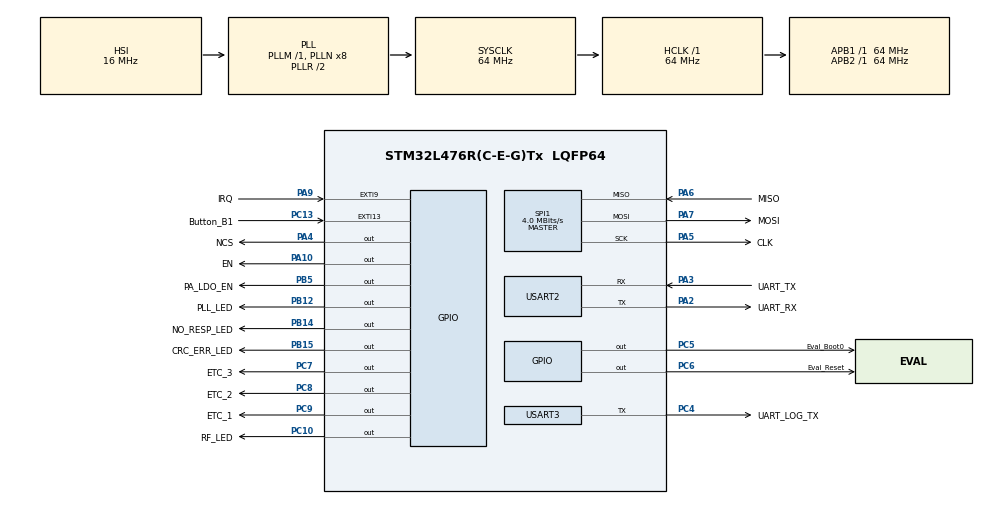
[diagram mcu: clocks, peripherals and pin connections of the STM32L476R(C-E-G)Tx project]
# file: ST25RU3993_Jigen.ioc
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Dma.Request0=USART3_TX
Dma.Request1=USART2_TX
Dma.Request2=USART2_RX
Dma.USART2_RX.2.Direction=DMA_PERIPH_TO_MEMORY
Dma.USART2_RX.2.Instance=DMA1_Channel6
Dma.USART2_RX.2.MemDataAlignment=DMA_MDATAALIGN_BYTE
Dma.USART2_RX.2.MemInc=DMA_MINC_ENABLE
Dma.USART2_RX.2.Mode=DMA_NORMAL
Dma.USART2_RX.2.PeriphDataAlignment=DMA_PDATAALIGN_BYTE
Dma.USART2_RX.2.PeriphInc=DMA_PINC_DISABLE
Dma.USART2_RX.2.Priority=DMA_PRIORITY_MEDIUM
Dma.USART2_TX.1.Direction=DMA_MEMORY_TO_PERIPH
Dma.USART2_TX.1.Instance=DMA1_Channel7
Dma.USART2_TX.1.MemDataAlignment=DMA_MDATAALIGN_BYTE
Dma.USART2_TX.1.MemInc=DMA_MINC_ENABLE
Dma.USART2_TX.1.Mode=DMA_NORMAL
Dma.USART2_TX.1.PeriphDataAlignment=DMA_PDATAALIGN_BYTE
Dma.USART2_TX.1.PeriphInc=DMA_PINC_DISABLE
Dma.USART2_TX.1.Priority=DMA_PRIORITY_MEDIUM
Dma.USART3_TX.0.Direction=DMA_MEMORY_TO_PERIPH
Dma.USART3_TX.0.Instance=DMA1_Channel2
Dma.USART3_TX.0.MemDataAlignment=DMA_MDATAALIGN_BYTE
Dma.USART3_TX.0.MemInc=DMA_MINC_ENABLE
Dma.USART3_TX.0.Mode=DMA_NORMAL
Dma.USART3_TX.0.PeriphDataAlignment=DMA_PDATAALIGN_BYTE
Dma.USART3_TX.0.PeriphInc=DMA_PINC_DISABLE
Dma.USART3_TX.0.Priority=DMA_PRIORITY_LOW
Mcu.Family=STM32L4
Mcu.Name=STM32L476R(C-E-G)Tx
Mcu.Package=LQFP64
NVIC.DMA1_Channel2_IRQn=true\:0\:0\:false\:false\:true\:true
NVIC.DMA1_Channel6_IRQn=true\:0\:0\:false\:false\:true\:true
NVIC.DMA1_Channel7_IRQn=true\:0\:0\:false\:false\:true\:true
NVIC.EXTI9_5_IRQn=true\:15\:0\:true\:false\:true\:true
NVIC.PriorityGroup=NVIC_PRIORITYGROUP_4
NVIC.RTC_Alarm_IRQn=true\:0\:0\:false\:false\:true\:true
NVIC.TIM4_IRQn=true\:0\:0\:false\:false\:true\:true
NVIC.TIM5_IRQn=true\:0\:0\:false\:false\:true\:true
NVIC.USART2_IRQn=true\:2\:0\:true\:false\:true\:true
NVIC.USART3_IRQn=true\:0\:0\:false\:false\:true\:true
PA10.GPIO_Label=EN
PA10.GPIO_Speed=GPIO_SPEED_FREQ_VERY_HIGH
PA10.Signal=GPIO_Output
PA13\ (JTMS-SWDIO).GPIO_Label=SWDIO
PA13\ (JTMS-SWDIO).Mode=Serial_Wire
PA13\ (JTMS-SWDIO).Signal=SYS_JTMS-SWDIO
PA14\ (JTCK-SWCLK).GPIO_Label=SWCLK
PA14\ (JTCK-SWCLK).Mode=Serial_Wire
PA14\ (JTCK-SWCLK).Signal=SYS_JTCK-SWCLK
PA15\ (JTDI).Signal=SYS_JTDI
PA2.GPIO_Label=UART_RX
PA2.Mode=Asynchronous
PA2.Signal=USART2_TX
PA3.GPIO_Label=UART_TX
PA3.Mode=Asynchronous
PA3.Signal=USART2_RX
PA4.GPIO_Label=NCS
PA4.GPIO_ModeDefaultOutputPP=GPIO_MODE_OUTPUT_PP
PA4.GPIO_Speed=GPIO_SPEED_FREQ_VERY_HIGH
PA4.PinState=GPIO_PIN_SET
PA4.Signal=GPIO_Output
PA5.GPIO_Label=CLK
PA5.Mode=Full_Duplex_Master
PA5.Signal=SPI1_SCK
PA6.GPIO_Label=MISO
PA6.Mode=Full_Duplex_Master
PA6.Signal=SPI1_MISO
PA7.GPIO_Label=MOSI
PA7.Mode=Full_Duplex_Master
PA7.Signal=SPI1_MOSI
PA9.GPIO_Label=IRQ
PA9.Signal=GPXTI9
PB12.GPIO_Label=PLL_LED
PB12.GPIO_ModeDefaultOutputPP=GPIO_MODE_OUTPUT_PP
PB12.GPIO_PuPd=GPIO_NOPULL
PB12.GPIO_Speed=GPIO_SPEED_FREQ_LOW
PB12.PinState=GPIO_PIN_SET
PB12.Signal=GPIO_Output
PB14.GPIO_Label=NO_RESP_LED
PB14.GPIO_ModeDefaultOutputPP=GPIO_MODE_OUTPUT_PP
PB14.GPIO_PuPd=GPIO_NOPULL
PB14.GPIO_Speed=GPIO_SPEED_FREQ_LOW
PB14.PinState=GPIO_PIN_SET
PB14.Signal=GPIO_Output
PB15.GPIO_Label=CRC_ERR_LED
PB15.GPIO_ModeDefaultOutputPP=GPIO_MODE_OUTPUT_PP
PB15.GPIO_PuPd=GPIO_NOPULL
PB15.GPIO_Speed=GPIO_SPEED_FREQ_LOW
PB15.PinState=GPIO_PIN_SET
PB15.Signal=GPIO_Output
PB3\ (JTDO-TRACESWO).Signal=SYS_JTDO-SWO
PB5.GPIO_Label=PA_LDO_EN
PB5.GPIO_Speed=GPIO_SPEED_FREQ_VERY_HIGH
PB5.Signal=GPIO_Output
PC10.GPIO_Label=RF_LED
PC10.GPIO_ModeDefaultOutputPP=GPIO_MODE_OUTPUT_PP
PC10.GPIO_PuPd=GPIO_NOPULL
PC10.GPIO_Speed=GPIO_SPEED_FREQ_LOW
PC10.PinState=GPIO_PIN_SET
PC10.Signal=GPIO_Output
PC13.GPIO_Label=Button_B1
PC13.Signal=GPXTI13
PC14-OSC32_IN\ (PC14).GPIO_Label=OSC32_IN
PC14-OSC32_IN\ (PC14).Mode=LSE-External-Oscillator
PC14-OSC32_IN\ (PC14).Signal=RCC_OSC32_IN
PC15-OSC32_OUT\ (PC15).GPIO_Label=OSC32_OUT
PC15-OSC32_OUT\ (PC15).Mode=LSE-External-Oscillator
PC15-OSC32_OUT\ (PC15).Signal=RCC_OSC32_OUT
PC4.GPIO_Label=UART_LOG_TX
PC4.Mode=Half_duplex(single_wire_mode)
PC4.Signal=USART3_TX
PC5.GPIO_Label=Eval_Boot0
PC5.Signal=GPIO_Output
PC6.GPIO_Label=Eval_Reset
PC6.PinState=GPIO_PIN_SET
PC6.Signal=GPIO_Output
PC7.GPIO_Label=ETC_3
PC7.GPIO_Speed=GPIO_SPEED_FREQ_VERY_HIGH
PC7.Signal=GPIO_Output
PC8.GPIO_Label=ETC_2
PC8.GPIO_Speed=GPIO_SPEED_FREQ_VERY_HIGH
PC8.Signal=GPIO_Output
PC9.GPIO_Label=ETC_1
PC9.GPIO_Speed=GPIO_SPEED_FREQ_VERY_HIGH
PC9.Signal=GPIO_Output
ProjectManager.HeapSize=0x600
ProjectManager.StackSize=0x600
ProjectManager.TargetToolchain=MDK-ARM V5
RCC.ADCFreq_Value=64000000
RCC.AHBFreq_Value=64000000
RCC.APB1Freq_Value=64000000
RCC.APB1TimFreq_Value=64000000
RCC.APB2Freq_Value=64000000
RCC.APB2TimFreq_Value=64000000
RCC.CortexFreq_Value=64000000
RCC.HCLKFreq_Value=64000000
RCC.HSE_VALUE=8000000
RCC.HSI_VALUE=16000000
RCC.MSI_VALUE=4000000
RCC.PLLSourceVirtual=RCC_PLLSOURCE_HSI
RCC.PREFETCH_ENABLE=1
RCC.RTCClockSelection=RCC_RTCCLKSOURCE_LSE
RCC.SYSCLKFreq_VALUE=64000000
RCC.SYSCLKSource=RCC_SYSCLKSOURCE_PLLCLK
RCC.USBFreq_Value=64000000
RCC.VCOOutputFreq_Value=128000000
RTC.Alarm-Alarm\ A=RTC_ALARM_A
RTC.AlarmMaskDateWeekDay-Alarm\ A=RTC_ALARMMASK_DATEWEEKDAY
RTC.AlarmMaskHours-Alarm\ A=RTC_ALARMMASK_HOURS
RTC.AlarmMaskMinutes-Alarm\ A=RTC_ALARMMASK_MINUTES
RTC.AlarmMaskSeconds-Alarm\ A=RTC_ALARMMASK_SECONDS
RTC.AsynchPrediv=0
RTC.Seconds_A-Alarm\ A=1
RTC.SynchPrediv=326
SPI1.BaudRatePrescaler=SPI_BAUDRATEPRESCALER_16
SPI1.CLKPhase=SPI_PHASE_2EDGE
SPI1.CLKPolarity=SPI_POLARITY_LOW
SPI1.CalculateBaudRate=4.0 MBits/s
SPI1.DataSize=SPI_DATASIZE_8BIT
SPI1.Direction=SPI_DIRECTION_2LINES
SPI1.Mode=SPI_MODE_MASTER
SPI1.VirtualType=VM_MASTER
TIM16.Period=50-1
TIM16.Prescaler=64000-1
TIM4.Period=300-1
TIM4.Prescaler=64000-1
TIM5.Period=13-1
TIM5.Prescaler=64-1
USART2.SwapParam=ADVFEATURE_SWAP_DISABLE
USART2.VirtualMode-Asynchronous=VM_ASYNC
USART2.WordLength=WORDLENGTH_8B
USART3.Mode=MODE_TX
USART3.VirtualMode-Half_duplex(single_wire_mode)=VM_ASYNC
USART3.WordLength=WORDLENGTH_8B
VP_RTC_VS_RTC_Activate.Mode=RTC_Enabled
VP_RTC_VS_RTC_Alarm_A_Intern.Mode=Alarm A
VP_RTC_VS_RTC_Calendar.Mode=RTC_Calendar
VP_TIM16_VS_ClockSourceINT.Mode=Enable_Timer
VP_TIM4_VS_ClockSourceINT.Mode=Internal
VP_TIM5_VS_ClockSourceINT.Mode=Internal
board=ST25RU3993_Jigen

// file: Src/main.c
/**
  ******************************************************************************
  * @file           : main.c
  * @brief          : Main program body
  ******************************************************************************
  ** This notice applies to any and all portions of this file
  * that are not between comment pairs USER CODE BEGIN and
  * USER CODE END. Other portions of this file, whether
  * inserted by the user or by software development tools
  * are owned by their respective copyright owners.
  *
  * COPYRIGHT(c) 2019 STMicroelectronics
  *
  * Redistribution and use in source and binary forms, with or without modification,
  * are permitted provided that the following conditions are met:
  *   1. Redistributions of source code must retain the above copyright notice,
  *      this list of conditions and the following disclaimer.
  *   2. Redistributions in binary form must reproduce the above copyright notice,
  *      this list of conditions and the following disclaimer in the documentation
  *      and/or other materials provided with the distribution.
  *   3. Neither the name of STMicroelectronics nor the names of its contributors
  *      may be used to endorse or promote products derived from this software
  *      without specific prior written permission.
  *
  * THIS SOFTWARE IS PROVIDED BY THE COPYRIGHT HOLDERS AND CONTRIBUTORS "AS IS"
  * AND ANY EXPRESS OR IMPLIED WARRANTIES, INCLUDING, BUT NOT LIMITED TO, THE
  * IMPLIED WARRANTIES OF MERCHANTABILITY AND FITNESS FOR A PARTICULAR PURPOSE ARE
  * DISCLAIMED. IN NO EVENT SHALL THE COPYRIGHT HOLDER OR CONTRIBUTORS BE LIABLE
  * FOR ANY DIRECT, INDIRECT, INCIDENTAL, SPECIAL, EXEMPLARY, OR CONSEQUENTIAL
  * DAMAGES (INCLUDING, BUT NOT LIMITED TO, PROCUREMENT OF SUBSTITUTE GOODS OR
  * SERVICES; LOSS OF USE, DATA, OR PROFITS; OR BUSINESS INTERRUPTION) HOWEVER
  * CAUSED AND ON ANY THEORY OF LIABILITY, WHETHER IN CONTRACT, STRICT LIABILITY,
  * OR TORT (INCLUDING NEGLIGENCE OR OTHERWISE) ARISING IN ANY WAY OUT OF THE USE
  * OF THIS SOFTWARE, EVEN IF ADVISED OF THE POSSIBILITY OF SUCH DAMAGE.
  *
  ******************************************************************************
  */
#include "main.h"
#include "stm32l4xx_hal.h"
#include "dma.h"
#include "rtc.h"
#include "spi.h"
#include "tim.h"
#include "usart.h"
#include "gpio.h"

/* USER CODE BEGIN Includes */
#include "platform.h"
#if !LIB_PROTOCOL
#include "stream_dispatcher.h"
#include "appl_commands.h"
#else
#include "stream_dispatcher_clib.h"
#include "appl_commands_clib.h"
#endif
#include "timer.h"
#include "bootloader.h"
#include "logger.h"
#include "bitbang.h"
#include "adc_driver.h"
/* USER CODE END Includes */

/* USER CODE BEGIN PV */
/* Private variables ---------------------------------------------------------*/
extern uint8_t loggerTxBuffer[];
extern uint8_t loggerTxBufferDma[];

extern volatile uint16_t rtcTimerMsValue;
/* USER CODE END PV */

void SystemClock_Config(void);

/* USER CODE BEGIN PFP */
/* Private function prototypes -----------------------------------------------*/

/* USER CODE END PFP */

int main(void)
{
  /* USER CODE BEGIN 1 */
  bootloaderCheck();
  /* USER CODE END 1 */

  /* MCU Configuration----------------------------------------------------------*/

  /* Reset of all peripherals, Initializes the Flash interface and the Systick. */
  HAL_Init();

  /* Configure the system clock */
  SystemClock_Config();

  /* Initialize all configured peripherals */
  MX_GPIO_Init();
  MX_DMA_Init();
  MX_SPI1_Init();
  MX_TIM4_Init();
  MX_USART2_UART_Init();
  MX_TIM5_Init();
  MX_USART3_UART_Init();
  MX_TIM16_Init();
  MX_RTC_Init();
  /* USER CODE BEGIN 2 */
#if FAST_UART
    // available higher Baudrates: 230400; 460800; 500000; 576000; 921600; 000000; 1152000; 1500000; 2000000; 2500000;
    huart2.Init.BaudRate = 3000000;   // highest possible baudrate that is supported by FTDI converter IC
    if (HAL_UART_Init(&huart2) != HAL_OK){
        _Error_Handler(__FILE__, __LINE__);
    }
#endif

  platformInit();
  ledTimerStart();
  LOG("FW Version = %02d.%02d.%02d\n",(FIRMWARE_VERSION>>16)&0xFF,(FIRMWARE_VERSION>>8)&0xFF,FIRMWARE_VERSION&0xFF);
  /* USER CODE END 2 */

  /* Infinite loop */
  while (1)
  {

  /* USER CODE BEGIN 3 */
    ProcessIO();                // main trigger for operation commands.

#if STUHFL_DEVICE_MODE_ONLY
    // todo: EVAL API based code starts here ..

#else
    doCyclicInventory();        // do cyclic inventory if necessary.
    doContinuousModulation();
    doSaveTuningTable();
#endif

    LOGFLUSH();
  }
  /* USER CODE END 3 */

}

void SystemClock_Config(void)
{

  RCC_OscInitTypeDef RCC_OscInitStruct;
  RCC_ClkInitTypeDef RCC_ClkInitStruct;
  RCC_PeriphCLKInitTypeDef PeriphClkInit;

    /**Configure LSE Drive Capability
    */
  HAL_PWR_EnableBkUpAccess();

  __HAL_RCC_LSEDRIVE_CONFIG(RCC_LSEDRIVE_LOW);

    /**Initializes the CPU, AHB and APB busses clocks
    */
  RCC_OscInitStruct.OscillatorType = RCC_OSCILLATORTYPE_HSI|RCC_OSCILLATORTYPE_LSE;
  RCC_OscInitStruct.LSEState = RCC_LSE_ON;
  RCC_OscInitStruct.HSIState = RCC_HSI_ON;
  RCC_OscInitStruct.HSICalibrationValue = 16;
  RCC_OscInitStruct.PLL.PLLState = RCC_PLL_ON;
  RCC_OscInitStruct.PLL.PLLSource = RCC_PLLSOURCE_HSI;
  RCC_OscInitStruct.PLL.PLLM = 1;
  RCC_OscInitStruct.PLL.PLLN = 8;
  RCC_OscInitStruct.PLL.PLLP = RCC_PLLP_DIV7;
  RCC_OscInitStruct.PLL.PLLQ = RCC_PLLQ_DIV2;
  RCC_OscInitStruct.PLL.PLLR = RCC_PLLR_DIV2;
  if (HAL_RCC_OscConfig(&RCC_OscInitStruct) != HAL_OK)
  {
    _Error_Handler(__FILE__, __LINE__);
  }

    /**Initializes the CPU, AHB and APB busses clocks
    */
  RCC_ClkInitStruct.ClockType = RCC_CLOCKTYPE_HCLK|RCC_CLOCKTYPE_SYSCLK
                              |RCC_CLOCKTYPE_PCLK1|RCC_CLOCKTYPE_PCLK2;
  RCC_ClkInitStruct.SYSCLKSource = RCC_SYSCLKSOURCE_PLLCLK;
  RCC_ClkInitStruct.AHBCLKDivider = RCC_SYSCLK_DIV1;
  RCC_ClkInitStruct.APB1CLKDivider = RCC_HCLK_DIV1;
  RCC_ClkInitStruct.APB2CLKDivider = RCC_HCLK_DIV1;

  if (HAL_RCC_ClockConfig(&RCC_ClkInitStruct, FLASH_LATENCY_3) != HAL_OK)
  {
    _Error_Handler(__FILE__, __LINE__);
  }

  PeriphClkInit.PeriphClockSelection = RCC_PERIPHCLK_RTC|RCC_PERIPHCLK_USART2
                              |RCC_PERIPHCLK_USART3;
  PeriphClkInit.Usart2ClockSelection = RCC_USART2CLKSOURCE_PCLK1;
  PeriphClkInit.Usart3ClockSelection = RCC_USART3CLKSOURCE_PCLK1;
  PeriphClkInit.RTCClockSelection = RCC_RTCCLKSOURCE_LSE;
  if (HAL_RCCEx_PeriphCLKConfig(&PeriphClkInit) != HAL_OK)
  {
    _Error_Handler(__FILE__, __LINE__);
  }

    /**Configure the main internal regulator output voltage
    */
  if (HAL_PWREx_ControlVoltageScaling(PWR_REGULATOR_VOLTAGE_SCALE1) != HAL_OK)
  {
    _Error_Handler(__FILE__, __LINE__);
  }

    /**Configure the Systick interrupt time
    */
  HAL_SYSTICK_Config(HAL_RCC_GetHCLKFreq()/1000);

    /**Configure the Systick
    */
  HAL_SYSTICK_CLKSourceConfig(SYSTICK_CLKSOURCE_HCLK);

  /* SysTick_IRQn interrupt configuration */
  HAL_NVIC_SetPriority(SysTick_IRQn, 0, 0);
}

/* USER CODE BEGIN 4 */
/*------------------------------------------------------------------------- */
/** overloaded function from stm32xxxx_hal_gpio.c,
  * define GPIO_IRQ_PIN appropriately */
void HAL_GPIO_EXTI_Callback(uint16_t GPIO_Pin)
{
    if(GPIO_Pin == GPIO_IRQ_PIN)
    {
        st25RU3993Isr();
    }
}

/*------------------------------------------------------------------------- */
/** overloaded function from stm32xxxx_hal_tim.c,
  * define TIMER_LED_HANDLE appropriately
  * define TIMER_BB_HANDLE appropriately */
void HAL_TIM_PeriodElapsedCallback(TIM_HandleTypeDef *htim)
{
#if EVAL || DISCOVERY
    if(htim == &TIMER_LED_HANDLE)
        HAL_GPIO_TogglePin(GPIO_LED_MCU_PORT,GPIO_LED_MCU_PIN);
#endif

#if (ISO6B || GB29768)
    if(htim == &TIMER_BB_HANDLE)
        bitbangIsr();
#endif
}

/*------------------------------------------------------------------------- */
/** overloaded function from stm32xxxx_hal_rtc.c */
void HAL_RTC_AlarmAEventCallback(RTC_HandleTypeDef *hrtc)
{
    rtcTimerMsValue += 10;             // increase ms counter by 10 as period is 10ms
}

/*------------------------------------------------------------------------- */
/** overloaded function from stm32xxxx_hal_rtc.c */
void HAL_RTC_AlarmBEventCallback(RTC_HandleTypeDef *hrtc)
{
    rtcTimerMsValue += 10;             // increase ms counter by 10 as period is 10ms
}

/*------------------------------------------------------------------------- */
/** overloaded function from stm32xxxx_hal_uart.c,
  * define LOG_HANDLE appropriately */
void HAL_UART_TxHalfCpltCallback(UART_HandleTypeDef *huart)
{
    // when this happens we can write again the 1st half of the dma buffer
    if(huart == &LOG_HANDLE){
#if (USE_LOGGER == LOGGER_ON)
//        memcpy(loggerTxBufferDma, loggerTxBuffer, LOG_BUFFER_SIZE_DMA/2);
#endif
    }
}
void HAL_UART_TxCpltCallback(UART_HandleTypeDef *huart)
{
    // when this happens when can write again the 2nd half of the dma buffer
    if(huart == &LOG_HANDLE){
//        memcpy(&loggerTxBufferDma[LOG_BUFFER_SIZE_DMA/2], &loggerTxBuffer[LOG_BUFFER_SIZE_DMA/2], LOG_BUFFER_SIZE_DMA/2);
    }
}

/*------------------------------------------------------------------------- */
#if !JIGEN
/** overloaded function from stm32xxxx_hal_tim.c,
  * define ADC_HANDLE appropriately */
void HAL_ADC_ConvCpltCallback(ADC_HandleTypeDef* hadc)
{
    if(hadc == &ADC_HANDLE)
    {
        adcIsr();
    }
}
#endif
/* USER CODE END 4 */

void _Error_Handler(char *file, int line)
{
  while(1)
  {
  }
}

/************************ (C) COPYRIGHT STMicroelectronics *****END OF FILE****/
